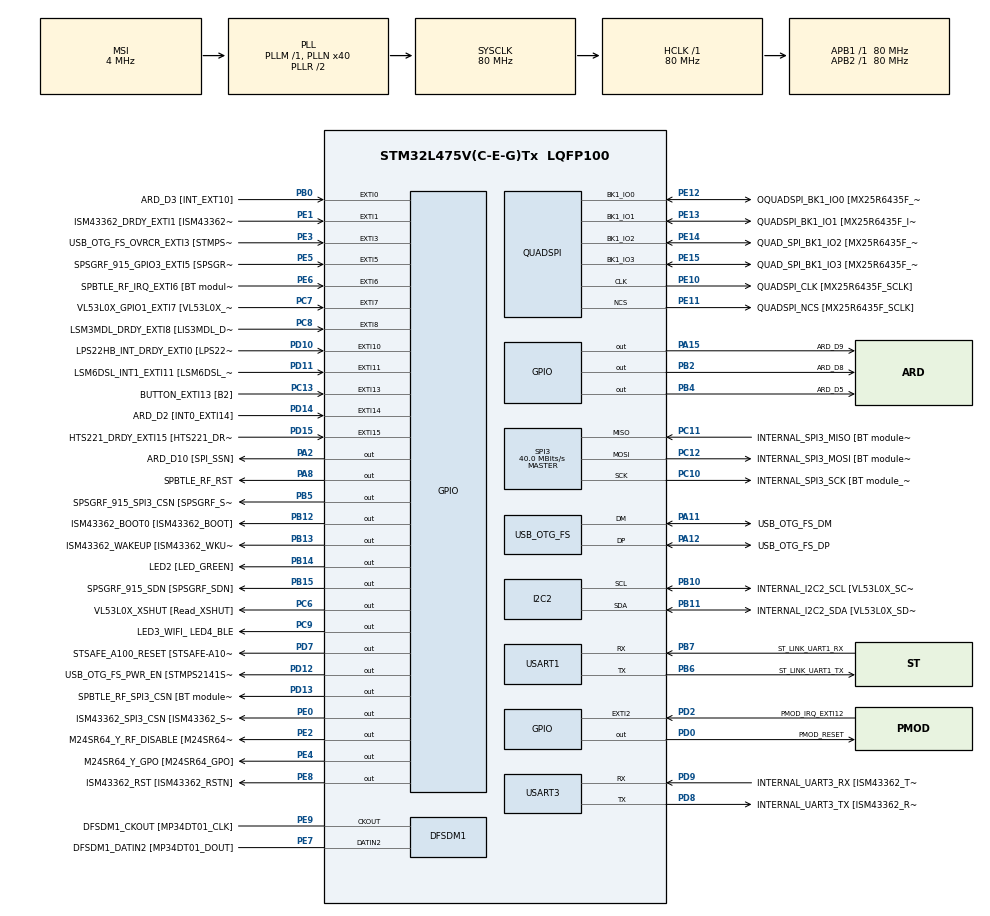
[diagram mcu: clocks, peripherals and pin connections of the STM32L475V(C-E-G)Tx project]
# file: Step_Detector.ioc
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FREERTOS.Tasks01=defaultTask,0,128,StartDefaultTask,Default,NULL,Dynamic,NULL,NULL
FREERTOS.configTOTAL_HEAP_SIZE=15000
FREERTOS.configUSE_NEWLIB_REENTRANT=1
I2C2.Timing=0x10D19CE4
Mcu.Family=STM32L4
Mcu.Name=STM32L475V(C-E-G)Tx
Mcu.Package=LQFP100
NVIC.EXTI15_10_IRQn=true\:5\:0\:false\:false\:true\:true\:true\:true\:true
NVIC.EXTI1_IRQn=true\:5\:0\:false\:false\:true\:true\:true\:true\:true
NVIC.EXTI9_5_IRQn=true\:5\:0\:false\:false\:true\:true\:true\:true\:true
NVIC.PriorityGroup=NVIC_PRIORITYGROUP_4
NVIC.SPI3_IRQn=true\:5\:0\:true\:false\:true\:true\:true\:true\:true
NVIC.TIM1_UP_TIM16_IRQn=true\:15\:0\:false\:false\:true\:false\:false\:true\:true
NVIC.TimeBase=TIM1_UP_TIM16_IRQn
NVIC.TimeBaseIP=TIM1
PA0.GPIO_Label=ARD_D1 [UART4_TX]
PA0.Signal=UART4_TX
PA1.GPIO_Label=ARD_D0 [UART4_RX]
PA1.Signal=UART4_RX
PA10.GPIO_Label=USB_OTG_FS_ID
PA10.Signal=USB_OTG_FS_ID
PA11.GPIO_Label=USB_OTG_FS_DM
PA11.Mode=Device_Only
PA11.Signal=USB_OTG_FS_DM
PA12.GPIO_Label=USB_OTG_FS_DP
PA12.Mode=Device_Only
PA12.Signal=USB_OTG_FS_DP
PA13\ (JTMS-SWDIO).GPIO_Label=SYS_JTMS_SWDIO
PA13\ (JTMS-SWDIO).Mode=Serial_Wire
PA13\ (JTMS-SWDIO).Signal=SYS_JTMS-SWDIO
PA14\ (JTCK-SWCLK).GPIO_Label=SYS_JTCK_SWCLK
PA14\ (JTCK-SWCLK).Mode=Serial_Wire
PA14\ (JTCK-SWCLK).Signal=SYS_JTCK-SWCLK
PA15\ (JTDI).GPIO_Label=ARD_D9
PA15\ (JTDI).Signal=GPIO_Output
PA2.GPIO_Label=ARD_D10 [SPI_SSN]
PA2.Signal=GPIO_Output
PA3.GPIO_Label=ARD_D4
PA3.Signal=S_TIM2_CH4
PA4.GPIO_Label=ARD_D7
PA4.Signal=ADCx_IN9
PA5.GPIO_Label=ARD_D13 [SPI1_SCK]
PA5.Signal=SPI1_SCK
PA6.GPIO_Label=ARD_D12 [SPI1_MISO]
PA6.Signal=SPI1_MISO
PA7.GPIO_Label=ARD_D11 [SPI1_MOSI]
PA7.Signal=SPI1_MOSI
PA8.GPIO_Label=SPBTLE_RF_RST
PA8.Signal=GPIO_Output
PA9.GPIO_Label=USB_OTG_FS_VBUS [STMPS2141STR_OUT]
PA9.Signal=USB_OTG_FS_VBUS
PB0.GPIO_Label=ARD_D3 [INT_EXT10]
PB0.Signal=GPXTI0
PB1.GPIO_Label=ARD_D6 [ADC1_IN6]
PB1.Signal=ADCx_IN16
PB10.GPIO_Label=INTERNAL_I2C2_SCL [VL53L0X_SCL]
PB10.GPIO_Pu=GPIO_PULLUP
PB10.Mode=I2C
PB10.Signal=I2C2_SCL
PB11.GPIO_Label=INTERNAL_I2C2_SDA [VL53L0X_SDA]
PB11.GPIO_Pu=GPIO_PULLUP
PB11.Mode=I2C
PB11.Signal=I2C2_SDA
PB12.GPIO_Label=ISM43362_BOOT0 [ISM43362_BOOT]
PB12.Signal=GPIO_Output
PB13.GPIO_Label=ISM43362_WAKEUP [ISM43362_WKUP]
PB13.Signal=GPIO_Output
PB14.GPIO_Label=LED2 [LED_GREEN]
PB14.Signal=GPIO_Output
PB15.GPIO_Label=SPSGRF_915_SDN [SPSGRF_SDN]
PB15.Signal=GPIO_Output
PB2.GPIO_Label=ARD_D8
PB2.Signal=GPIO_Output
PB3\ (JTDO-TRACESWO).GPIO_Label=SYS_JTD0_SWO
PB3\ (JTDO-TRACESWO).Signal=SYS_JTDO-SWO
PB4\ (NJTRST).GPIO_Label=ARD_D5
PB4\ (NJTRST).Signal=GPIO_Output
PB5.GPIO_Label=SPSGRF_915_SPI3_CSN [SPSGRF_SPI_CS]
PB5.PinState=GPIO_PIN_SET
PB5.Signal=GPIO_Output
PB6.GPIO_Label=ST_LINK_UART1_TX
PB6.Mode=Asynchronous
PB6.Signal=USART1_TX
PB7.GPIO_Label=ST_LINK_UART1_RX
PB7.Mode=Asynchronous
PB7.Signal=USART1_RX
PB8.GPIO_Label=ARD_D15 [I2C1_SCL]
PB8.Signal=I2C1_SCL
PB9.GPIO_Label=ARD_D14 [I2C1_SDA]
PB9.Signal=I2C1_SDA
PC0.GPIO_Label=ARD_A5 [ADC]
PC0.Signal=ADCx_IN1
PC1.GPIO_Label=ARD_A4 [ADC]
PC1.Signal=ADCx_IN2
PC10.GPIO_Label=INTERNAL_SPI3_SCK [BT module_SPI_SCLK] [ISM43362_SCK]
PC10.Mode=Full_Duplex_Master
PC10.Signal=SPI3_SCK
PC11.GPIO_Label=INTERNAL_SPI3_MISO [BT module_SPI_MISO] [ISM43362_MISO]
PC11.Mode=Full_Duplex_Master
PC11.Signal=SPI3_MISO
PC12.GPIO_Label=INTERNAL_SPI3_MOSI [BT module_SPI_MOSI] [ISM43362_MOSI]
PC12.Mode=Full_Duplex_Master
PC12.Signal=SPI3_MOSI
PC13.GPIO_Label=BUTTON_EXTI13 [B2]
PC13.GPIO_ModeDefaultEXTI=GPIO_MODE_IT_FALLING
PC13.Signal=GPXTI13
PC14-OSC32_IN\ (PC14).Mode=LSE-External-Oscillator
PC14-OSC32_IN\ (PC14).Signal=RCC_OSC32_IN
PC15-OSC32_OUT\ (PC15).Mode=LSE-External-Oscillator
PC15-OSC32_OUT\ (PC15).Signal=RCC_OSC32_OUT
PC2.GPIO_Label=ARD_A3 [ADC]
PC2.Signal=ADCx_IN3
PC3.GPIO_Label=ARD_A2 [ADC]
PC3.Signal=ADCx_IN4
PC4.GPIO_Label=ARD_A1 [ADC]
PC4.Signal=ADCx_IN13
PC5.GPIO_Label=ARD_A0 [ADC]
PC5.Signal=ADCx_IN14
PC6.GPIO_Label=VL53L0X_XSHUT [Read_XSHUT]
PC6.Signal=GPIO_Output
PC7.GPIO_Label=VL53L0X_GPIO1_EXTI7 [VL53L0X_GPIO1]
PC7.Signal=GPXTI7
PC8.GPIO_Label=LSM3MDL_DRDY_EXTI8 [LIS3MDL_DRDY]
PC8.Signal=GPXTI8
PC9.GPIO_Label=LED3_WIFI_ LED4_BLE
PC9.Signal=GPIO_Output
PD0.GPIO_Label=PMOD_RESET
PD0.Signal=GPIO_Output
PD1.GPIO_Label=PMOD_SPI2_SCK
PD1.Signal=SPI2_SCK
PD10.GPIO_Label=LPS22HB_INT_DRDY_EXTI0 [LPS22HB_INT_DRDY] 
PD10.Signal=GPXTI10
PD11.GPIO_Label=LSM6DSL_INT1_EXTI11 [LSM6DSL_INT1]
PD11.Signal=GPXTI11
PD12.GPIO_Label=USB_OTG_FS_PWR_EN [STMPS2141STR_EN]
PD12.Signal=GPIO_Output
PD13.GPIO_Label=SPBTLE_RF_SPI3_CSN [BT module_SPI_CS]
PD13.PinState=GPIO_PIN_SET
PD13.Signal=GPIO_Output
PD14.GPIO_Label=ARD_D2 [INT0_EXTI14]
PD14.Signal=GPXTI14
PD15.GPIO_Label=HTS221_DRDY_EXTI15 [HTS221_DRDY]
PD15.Signal=GPXTI15
PD2.GPIO_Label=PMOD_IRQ_EXTI12
PD2.Signal=GPXTI2
PD3.GPIO_Label=PMOD_UART2_CTS
PD3.Signal=USART2_CTS
PD4.GPIO_Label=PMOD_UART2_RTS
PD4.Signal=USART2_RTS
PD5.GPIO_Label=PMOD_UART2_TX
PD5.Signal=USART2_TX
PD6.GPIO_Label=PMOD_UART2_RX
PD6.Signal=USART2_RX
PD7.GPIO_Label=STSAFE_A100_RESET [STSAFE-A100_RESET]
PD7.Signal=GPIO_Output
PD8.GPIO_Label=INTERNAL_UART3_TX [ISM43362_RX]
PD8.Mode=Asynchronous
PD8.Signal=USART3_TX
PD9.GPIO_Label=INTERNAL_UART3_RX [ISM43362_TX]
PD9.Mode=Asynchronous
PD9.Signal=USART3_RX
PE0.GPIO_Label=ISM43362_SPI3_CSN [ISM43362_SSN]
PE0.PinState=GPIO_PIN_SET
PE0.Signal=GPIO_Output
PE1.GPIO_Label=ISM43362_DRDY_EXTI1 [ISM43362_DATARDY]
PE1.Signal=GPXTI1
PE10.GPIO_Label=QUADSPI_CLK [MX25R6435F_SCLK]
PE10.Mode=Single Bank
PE10.Signal=QUADSPI_CLK
PE11.GPIO_Label=QUADSPI_NCS [MX25R6435F_SCLK]
PE11.Mode=Single Bank
PE11.Signal=QUADSPI_NCS
PE12.GPIO_Label=OQUADSPI_BK1_IO0 [MX25R6435F_IO0]
PE12.Mode=Single Bank
PE12.Signal=QUADSPI_BK1_IO0
PE13.GPIO_Label=QUADSPI_BK1_IO1 [MX25R6435F_IO1]
PE13.Mode=Single Bank
PE13.Signal=QUADSPI_BK1_IO1
PE14.GPIO_Label=QUAD_SPI_BK1_IO2 [MX25R6435F_IO2]
PE14.Mode=Single Bank
PE14.Signal=QUADSPI_BK1_IO2
PE15.GPIO_Label=QUAD_SPI_BK1_IO3 [MX25R6435F_IO3]
PE15.Mode=Single Bank
PE15.Signal=QUADSPI_BK1_IO3
PE2.GPIO_Label=M24SR64_Y_RF_DISABLE [M24SR64_RFDIS]
PE2.Signal=GPIO_Output
PE3.GPIO_Label=USB_OTG_FS_OVRCR_EXTI3 [STMPS2141STR_FAULT]
PE3.Signal=GPXTI3
PE4.GPIO_Label=M24SR64_Y_GPO [M24SR64_GPO]
PE4.Signal=GPIO_Output
PE5.GPIO_Label=SPSGRF_915_GPIO3_EXTI5 [SPSGRF_GPIO_3]
PE5.Signal=GPXTI5
PE6.GPIO_Label=SPBTLE_RF_IRQ_EXTI6 [BT module_SPI_IRQ]
PE6.Signal=GPXTI6
PE7.GPIO_Label=DFSDM1_DATIN2 [MP34DT01_DOUT]
PE7.Signal=S_DATAIN2DFSDM1
PE8.GPIO_Label=ISM43362_RST [ISM43362_RSTN]
PE8.Signal=GPIO_Output
PE9.GPIO_Label=DFSDM1_CKOUT [MP34DT01_CLK]
PE9.Signal=S_CKOUTDFSDM1
ProjectManager.HeapSize=0x200
ProjectManager.StackSize=0x400
ProjectManager.TargetToolchain=STM32CubeIDE
QUADSPI.ClockPrescaler=2
QUADSPI.FifoThreshold=4
QUADSPI.FlashSize=23
QUADSPI.SampleShifting=QSPI_SAMPLE_SHIFTING_HALFCYCLE
RCC.ADCFreq_Value=48000000
RCC.AHBFreq_Value=80000000
RCC.APB1Freq_Value=80000000
RCC.APB1TimFreq_Value=80000000
RCC.APB2Freq_Value=80000000
RCC.APB2TimFreq_Value=80000000
RCC.CortexFreq_Value=80000000
RCC.HCLKFreq_Value=80000000
RCC.HSE_VALUE=8000000
RCC.HSI_VALUE=16000000
RCC.MSI_VALUE=4000000
RCC.PLLN=40
RCC.PLLSAI1N=24
RCC.SYSCLKFreq_VALUE=80000000
RCC.SYSCLKSource=RCC_SYSCLKSOURCE_PLLCLK
RCC.USBFreq_Value=48000000
RCC.VCOOutputFreq_Value=160000000
SH.ADCx_IN1.0=ADC1_IN1
SH.ADCx_IN13.0=ADC1_IN13
SH.ADCx_IN14.0=ADC1_IN14
SH.ADCx_IN16.0=ADC1_IN16
SH.ADCx_IN2.0=ADC1_IN2
SH.ADCx_IN3.0=ADC1_IN3
SH.ADCx_IN4.0=ADC1_IN4
SH.ADCx_IN9.0=ADC1_IN9
SH.S_CKOUTDFSDM1.0=DFSDM1_CKOUT,CKOUT
SH.S_CKOUTDFSDM1.1=DFSDM1_CKOUT,PDM_SPI_Input_from_ch12_and_Internal_Clock
SH.S_DATAIN2DFSDM1.0=DFSDM1_DATIN2,PDM_SPI_Input_from_ch12_and_Internal_Clock
SH.S_TIM2_CH4.0=TIM2_CH4
SPI3.BaudRatePrescaler=SPI_BAUDRATEPRESCALER_2
SPI3.CalculateBaudRate=40.0 MBits/s
SPI3.DataSize=SPI_DATASIZE_16BIT
SPI3.Direction=SPI_DIRECTION_2LINES
SPI3.Mode=SPI_MODE_MASTER
SPI3.VirtualType=VM_MASTER
USART1.VirtualMode-Asynchronous=VM_ASYNC
USART3.VirtualMode-Asynchronous=VM_ASYNC
USB_OTG_FS.VirtualMode=Device_Only
VP_FREERTOS_VS_CMSIS_V1.Mode=CMSIS_V1
VP_SYS_VS_tim1.Mode=TIM1
board=B-L475E-IOT01A1

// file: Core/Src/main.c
/* USER CODE BEGIN Header */
/**
  ******************************************************************************
  * @file           : main.c
  * @brief          : Main program body
  ******************************************************************************
  * @attention
  *
  * Copyright (c) 2024 STMicroelectronics.
  * All rights reserved.
  *
  * This software is licensed under terms that can be found in the LICENSE file
  * in the root directory of this software component.
  * If no LICENSE file comes with this software, it is provided AS-IS.
  *
  ******************************************************************************
  */
/* USER CODE END Header */
#include "main.h"
#include "cmsis_os.h"

/* USER CODE BEGIN Includes */
#include <stdio.h>
#include <string.h>
#include "tasks.h"
#include "WiFi/wifi_task.h"
/* USER CODE END Includes */

/* USER CODE BEGIN PTD */
#ifdef __GNUC__
#define PUTCHAR_PROTOTYPE int __io_putchar(int ch)
#define GETCHAR_PROTOTYPE int __io_getchar(void)
/* With GCC, small printf (option LD Linker->Libraries->Small printf
 set to 'Yes') calls __io_putchar() */
#else
#define PUTCHAR_PROTOTYPE int fputc(int ch, FILE *f)
#define GETCHAR_PROTOTYPE int getc(FILE *f)
#endif /* __GNUC__ */

/* USER CODE END PTD */

/* USER CODE BEGIN PD */
#define RXBUFFERSIZE 1
/* USER CODE END PD */

DFSDM_Channel_HandleTypeDef hdfsdm1_channel1;

I2C_HandleTypeDef hi2c2;

QSPI_HandleTypeDef hqspi;

SPI_HandleTypeDef hspi3;

UART_HandleTypeDef huart1;
UART_HandleTypeDef huart3;

PCD_HandleTypeDef hpcd_USB_OTG_FS;

osThreadId defaultTaskHandle;
/* USER CODE BEGIN PV */
uint8_t aRxBuffer[RXBUFFERSIZE + 1];
__IO ITStatus UartReady = RESET;
/* USER CODE END PV */

void SystemClock_Config(void);
static void MX_GPIO_Init(void);
static void MX_DFSDM1_Init(void);
static void MX_I2C2_Init(void);
static void MX_QUADSPI_Init(void);
static void MX_SPI3_Init(void);
static void MX_USART1_UART_Init(void);
static void MX_USART3_UART_Init(void);
static void MX_USB_OTG_FS_PCD_Init(void);
void StartDefaultTask(void const * argument);

/* USER CODE BEGIN PFP */
void UART_IRQCallback(UART_HandleTypeDef *huart);
/* USER CODE END PFP */

int main(void)
{

  /* MCU Configuration--------------------------------------------------------*/

  /* Reset of all peripherals, Initializes the Flash interface and the Systick. */
  HAL_Init();

  /* Configure the system clock */
  SystemClock_Config();

  /* Initialize all configured peripherals */
  MX_GPIO_Init();
  MX_DFSDM1_Init();
  MX_I2C2_Init();
  MX_QUADSPI_Init();
  MX_SPI3_Init();
  MX_USART1_UART_Init();
  MX_USART3_UART_Init();
  MX_USB_OTG_FS_PCD_Init();
  /* USER CODE BEGIN 2 */
  printf("Hello world!!!!!!! \r\n");
  /*----------Start WiFi and Server------------*/
  /* USER CODE END 2 */

  /* Create the thread(s) */
  /* definition and creation of defaultTask */
  osThreadDef(defaultTask, StartDefaultTask, osPriorityNormal, 0, 128);
  defaultTaskHandle = osThreadCreate(osThread(defaultTask), NULL);

  /* USER CODE BEGIN RTOS_THREADS */
  osThreadDef(wifiTask, wifiServerTask, osPriorityNormal, 0, 512);
  osThreadCreate(osThread(wifiTask), NULL);
  printf("Start Tasks\n");

  osThreadDef(measureTask, measureTask, osPriorityNormal, 0, 512);
  osThreadCreate(osThread(measureTask), &hi2c2);
  osThreadDef(KalmanTask, presKalmanTask, osPriorityNormal, 0, 512);
  osThreadCreate(osThread(KalmanTask), &hi2c2);
  osThreadDef(flashSaveTask, saveTask, osPriorityNormal, 0, 512);
  osThreadCreate(osThread(flashSaveTask), NULL);
  osThreadDef(flashReadTask, readTask, osPriorityNormal, 0, 512);
  osThreadCreate(osThread(flashReadTask), NULL);
  printf("Memory aviable: %lu", (uint32_t)xPortGetFreeHeapSize());
  /* USER CODE END RTOS_THREADS */

  /* Start scheduler */
  osKernelStart();

  /* We should never get here as control is now taken by the scheduler */

  /* Infinite loop */
  while (1)
  {

  }
}

void SystemClock_Config(void)
{
  RCC_OscInitTypeDef RCC_OscInitStruct = {0};
  RCC_ClkInitTypeDef RCC_ClkInitStruct = {0};

  /** Configure the main internal regulator output voltage
  */
  if (HAL_PWREx_ControlVoltageScaling(PWR_REGULATOR_VOLTAGE_SCALE1) != HAL_OK)
  {
    Error_Handler();
  }

  /** Configure LSE Drive Capability
  */
  HAL_PWR_EnableBkUpAccess();
  __HAL_RCC_LSEDRIVE_CONFIG(RCC_LSEDRIVE_LOW);

  /** Initializes the RCC Oscillators according to the specified parameters
  * in the RCC_OscInitTypeDef structure.
  */
  RCC_OscInitStruct.OscillatorType = RCC_OSCILLATORTYPE_LSE|RCC_OSCILLATORTYPE_MSI;
  RCC_OscInitStruct.LSEState = RCC_LSE_ON;
  RCC_OscInitStruct.MSIState = RCC_MSI_ON;
  RCC_OscInitStruct.MSICalibrationValue = 0;
  RCC_OscInitStruct.MSIClockRange = RCC_MSIRANGE_6;
  RCC_OscInitStruct.PLL.PLLState = RCC_PLL_ON;
  RCC_OscInitStruct.PLL.PLLSource = RCC_PLLSOURCE_MSI;
  RCC_OscInitStruct.PLL.PLLM = 1;
  RCC_OscInitStruct.PLL.PLLN = 40;
  RCC_OscInitStruct.PLL.PLLP = RCC_PLLP_DIV7;
  RCC_OscInitStruct.PLL.PLLQ = RCC_PLLQ_DIV2;
  RCC_OscInitStruct.PLL.PLLR = RCC_PLLR_DIV2;
  if (HAL_RCC_OscConfig(&RCC_OscInitStruct) != HAL_OK)
  {
    Error_Handler();
  }

  /** Initializes the CPU, AHB and APB buses clocks
  */
  RCC_ClkInitStruct.ClockType = RCC_CLOCKTYPE_HCLK|RCC_CLOCKTYPE_SYSCLK
                              |RCC_CLOCKTYPE_PCLK1|RCC_CLOCKTYPE_PCLK2;
  RCC_ClkInitStruct.SYSCLKSource = RCC_SYSCLKSOURCE_PLLCLK;
  RCC_ClkInitStruct.AHBCLKDivider = RCC_SYSCLK_DIV1;
  RCC_ClkInitStruct.APB1CLKDivider = RCC_HCLK_DIV1;
  RCC_ClkInitStruct.APB2CLKDivider = RCC_HCLK_DIV1;

  if (HAL_RCC_ClockConfig(&RCC_ClkInitStruct, FLASH_LATENCY_4) != HAL_OK)
  {
    Error_Handler();
  }

  /** Enable MSI Auto calibration
  */
  HAL_RCCEx_EnableMSIPLLMode();
}

static void MX_DFSDM1_Init(void)
{

  hdfsdm1_channel1.Instance = DFSDM1_Channel1;
  hdfsdm1_channel1.Init.OutputClock.Activation = ENABLE;
  hdfsdm1_channel1.Init.OutputClock.Selection = DFSDM_CHANNEL_OUTPUT_CLOCK_SYSTEM;
  hdfsdm1_channel1.Init.OutputClock.Divider = 2;
  hdfsdm1_channel1.Init.Input.Multiplexer = DFSDM_CHANNEL_EXTERNAL_INPUTS;
  hdfsdm1_channel1.Init.Input.DataPacking = DFSDM_CHANNEL_STANDARD_MODE;
  hdfsdm1_channel1.Init.Input.Pins = DFSDM_CHANNEL_FOLLOWING_CHANNEL_PINS;
  hdfsdm1_channel1.Init.SerialInterface.Type = DFSDM_CHANNEL_SPI_RISING;
  hdfsdm1_channel1.Init.SerialInterface.SpiClock = DFSDM_CHANNEL_SPI_CLOCK_INTERNAL;
  hdfsdm1_channel1.Init.Awd.FilterOrder = DFSDM_CHANNEL_FASTSINC_ORDER;
  hdfsdm1_channel1.Init.Awd.Oversampling = 1;
  hdfsdm1_channel1.Init.Offset = 0;
  hdfsdm1_channel1.Init.RightBitShift = 0x00;
  if (HAL_DFSDM_ChannelInit(&hdfsdm1_channel1) != HAL_OK)
  {
    Error_Handler();
  }

}

static void MX_I2C2_Init(void)
{

  hi2c2.Instance = I2C2;
  hi2c2.Init.Timing = 0x10D19CE4;
  hi2c2.Init.OwnAddress1 = 0;
  hi2c2.Init.AddressingMode = I2C_ADDRESSINGMODE_7BIT;
  hi2c2.Init.DualAddressMode = I2C_DUALADDRESS_DISABLE;
  hi2c2.Init.OwnAddress2 = 0;
  hi2c2.Init.OwnAddress2Masks = I2C_OA2_NOMASK;
  hi2c2.Init.GeneralCallMode = I2C_GENERALCALL_DISABLE;
  hi2c2.Init.NoStretchMode = I2C_NOSTRETCH_DISABLE;
  if (HAL_I2C_Init(&hi2c2) != HAL_OK)
  {
    Error_Handler();
  }

  /** Configure Analogue filter
  */
  if (HAL_I2CEx_ConfigAnalogFilter(&hi2c2, I2C_ANALOGFILTER_ENABLE) != HAL_OK)
  {
    Error_Handler();
  }

  /** Configure Digital filter
  */
  if (HAL_I2CEx_ConfigDigitalFilter(&hi2c2, 0) != HAL_OK)
  {
    Error_Handler();
  }

}

static void MX_QUADSPI_Init(void)
{

  /* QUADSPI parameter configuration*/
  hqspi.Instance = QUADSPI;
  hqspi.Init.ClockPrescaler = 2;
  hqspi.Init.FifoThreshold = 4;
  hqspi.Init.SampleShifting = QSPI_SAMPLE_SHIFTING_HALFCYCLE;
  hqspi.Init.FlashSize = 23;
  hqspi.Init.ChipSelectHighTime = QSPI_CS_HIGH_TIME_1_CYCLE;
  hqspi.Init.ClockMode = QSPI_CLOCK_MODE_0;
  if (HAL_QSPI_Init(&hqspi) != HAL_OK)
  {
    Error_Handler();
  }

}

static void MX_SPI3_Init(void)
{

  /* SPI3 parameter configuration*/
  hspi3.Instance = SPI3;
  hspi3.Init.Mode = SPI_MODE_MASTER;
  hspi3.Init.Direction = SPI_DIRECTION_2LINES;
  hspi3.Init.DataSize = SPI_DATASIZE_16BIT;
  hspi3.Init.CLKPolarity = SPI_POLARITY_LOW;
  hspi3.Init.CLKPhase = SPI_PHASE_1EDGE;
  hspi3.Init.NSS = SPI_NSS_SOFT;
  hspi3.Init.BaudRatePrescaler = SPI_BAUDRATEPRESCALER_2;
  hspi3.Init.FirstBit = SPI_FIRSTBIT_MSB;
  hspi3.Init.TIMode = SPI_TIMODE_DISABLE;
  hspi3.Init.CRCCalculation = SPI_CRCCALCULATION_DISABLE;
  hspi3.Init.CRCPolynomial = 7;
  hspi3.Init.CRCLength = SPI_CRC_LENGTH_DATASIZE;
  hspi3.Init.NSSPMode = SPI_NSS_PULSE_ENABLE;
  if (HAL_SPI_Init(&hspi3) != HAL_OK)
  {
    Error_Handler();
  }
  /* USER CODE BEGIN SPI3_Init 2 */
  HAL_NVIC_SetPriority((IRQn_Type)SPI3_IRQn, 0, 0);
  HAL_NVIC_EnableIRQ((IRQn_Type)SPI3_IRQn);
  /* USER CODE END SPI3_Init 2 */

}

static void MX_USART1_UART_Init(void)
{

  /* USER CODE BEGIN USART1_Init 1 */

	/* TODO: Set the USART1 parameters. */

  /* USER CODE END USART1_Init 1 */
  huart1.Instance = USART1;
  huart1.Init.BaudRate = 115200;
  huart1.Init.WordLength = UART_WORDLENGTH_8B;
  huart1.Init.StopBits = UART_STOPBITS_1;
  huart1.Init.Parity = UART_PARITY_NONE;
  huart1.Init.Mode = UART_MODE_TX_RX;
  huart1.Init.HwFlowCtl = UART_HWCONTROL_NONE;
  huart1.Init.OverSampling = UART_OVERSAMPLING_16;
  huart1.Init.OneBitSampling = UART_ONE_BIT_SAMPLE_DISABLE;
  huart1.AdvancedInit.AdvFeatureInit = UART_ADVFEATURE_NO_INIT;
  if (HAL_UART_Init(&huart1) != HAL_OK)
  {
    Error_Handler();
  }
  /* USER CODE BEGIN USART1_Init 2 */

	/* TODO: Enable and configure the interrupt for USART1. */

	HAL_NVIC_SetPriority(USART1_IRQn, 0, 0);
	HAL_NVIC_EnableIRQ(USART1_IRQn);

  /* USER CODE END USART1_Init 2 */

}

static void MX_USART3_UART_Init(void)
{

  huart3.Instance = USART3;
  huart3.Init.BaudRate = 115200;
  huart3.Init.WordLength = UART_WORDLENGTH_8B;
  huart3.Init.StopBits = UART_STOPBITS_1;
  huart3.Init.Parity = UART_PARITY_NONE;
  huart3.Init.Mode = UART_MODE_TX_RX;
  huart3.Init.HwFlowCtl = UART_HWCONTROL_NONE;
  huart3.Init.OverSampling = UART_OVERSAMPLING_16;
  huart3.Init.OneBitSampling = UART_ONE_BIT_SAMPLE_DISABLE;
  huart3.AdvancedInit.AdvFeatureInit = UART_ADVFEATURE_NO_INIT;
  if (HAL_UART_Init(&huart3) != HAL_OK)
  {
    Error_Handler();
  }

}

static void MX_USB_OTG_FS_PCD_Init(void)
{

  hpcd_USB_OTG_FS.Instance = USB_OTG_FS;
  hpcd_USB_OTG_FS.Init.dev_endpoints = 6;
  hpcd_USB_OTG_FS.Init.speed = PCD_SPEED_FULL;
  hpcd_USB_OTG_FS.Init.phy_itface = PCD_PHY_EMBEDDED;
  hpcd_USB_OTG_FS.Init.Sof_enable = DISABLE;
  hpcd_USB_OTG_FS.Init.low_power_enable = DISABLE;
  hpcd_USB_OTG_FS.Init.lpm_enable = DISABLE;
  hpcd_USB_OTG_FS.Init.battery_charging_enable = DISABLE;
  hpcd_USB_OTG_FS.Init.use_dedicated_ep1 = DISABLE;
  hpcd_USB_OTG_FS.Init.vbus_sensing_enable = DISABLE;
  if (HAL_PCD_Init(&hpcd_USB_OTG_FS) != HAL_OK)
  {
    Error_Handler();
  }

}

static void MX_GPIO_Init(void)
{
  GPIO_InitTypeDef GPIO_InitStruct = {0};

  /* GPIO Ports Clock Enable */
  __HAL_RCC_GPIOE_CLK_ENABLE();
  __HAL_RCC_GPIOC_CLK_ENABLE();
  __HAL_RCC_GPIOA_CLK_ENABLE();
  __HAL_RCC_GPIOB_CLK_ENABLE();
  __HAL_RCC_GPIOD_CLK_ENABLE();

  /*Configure GPIO pin Output Level */
  HAL_GPIO_WritePin(GPIOE, M24SR64_Y_RF_DISABLE_Pin|M24SR64_Y_GPO_Pin|ISM43362_RST_Pin, GPIO_PIN_RESET);

  /*Configure GPIO pin Output Level */
  HAL_GPIO_WritePin(GPIOA, ARD_D10_Pin|SPBTLE_RF_RST_Pin|ARD_D9_Pin, GPIO_PIN_RESET);

  /*Configure GPIO pin Output Level */
  HAL_GPIO_WritePin(GPIOB, ARD_D8_Pin|ISM43362_BOOT0_Pin|ISM43362_WAKEUP_Pin|LED2_Pin
                          |SPSGRF_915_SDN_Pin|ARD_D5_Pin, GPIO_PIN_RESET);

  /*Configure GPIO pin Output Level */
  HAL_GPIO_WritePin(GPIOD, USB_OTG_FS_PWR_EN_Pin|PMOD_RESET_Pin|STSAFE_A100_RESET_Pin, GPIO_PIN_RESET);

  /*Configure GPIO pin Output Level */
  HAL_GPIO_WritePin(SPBTLE_RF_SPI3_CSN_GPIO_Port, SPBTLE_RF_SPI3_CSN_Pin, GPIO_PIN_SET);

  /*Configure GPIO pin Output Level */
  HAL_GPIO_WritePin(GPIOC, VL53L0X_XSHUT_Pin|LED3_WIFI__LED4_BLE_Pin, GPIO_PIN_RESET);

  /*Configure GPIO pin Output Level */
  HAL_GPIO_WritePin(SPSGRF_915_SPI3_CSN_GPIO_Port, SPSGRF_915_SPI3_CSN_Pin, GPIO_PIN_SET);

  /*Configure GPIO pin Output Level */
  HAL_GPIO_WritePin(ISM43362_SPI3_CSN_GPIO_Port, ISM43362_SPI3_CSN_Pin, GPIO_PIN_SET);

  /*Configure GPIO pins : M24SR64_Y_RF_DISABLE_Pin M24SR64_Y_GPO_Pin ISM43362_RST_Pin ISM43362_SPI3_CSN_Pin */
  GPIO_InitStruct.Pin = M24SR64_Y_RF_DISABLE_Pin|M24SR64_Y_GPO_Pin|ISM43362_RST_Pin|ISM43362_SPI3_CSN_Pin;
  GPIO_InitStruct.Mode = GPIO_MODE_OUTPUT_PP;
  GPIO_InitStruct.Pull = GPIO_NOPULL;
  GPIO_InitStruct.Speed = GPIO_SPEED_FREQ_LOW;
  HAL_GPIO_Init(GPIOE, &GPIO_InitStruct);

  /*Configure GPIO pins : USB_OTG_FS_OVRCR_EXTI3_Pin SPSGRF_915_GPIO3_EXTI5_Pin SPBTLE_RF_IRQ_EXTI6_Pin ISM43362_DRDY_EXTI1_Pin */
  GPIO_InitStruct.Pin = USB_OTG_FS_OVRCR_EXTI3_Pin|SPSGRF_915_GPIO3_EXTI5_Pin|SPBTLE_RF_IRQ_EXTI6_Pin|ISM43362_DRDY_EXTI1_Pin;
  GPIO_InitStruct.Mode = GPIO_MODE_IT_RISING;
  GPIO_InitStruct.Pull = GPIO_NOPULL;
  HAL_GPIO_Init(GPIOE, &GPIO_InitStruct);

  /*Configure GPIO pin : BUTTON_EXTI13_Pin */
  GPIO_InitStruct.Pin = BUTTON_EXTI13_Pin;
  GPIO_InitStruct.Mode = GPIO_MODE_IT_FALLING;
  GPIO_InitStruct.Pull = GPIO_NOPULL;
  HAL_GPIO_Init(BUTTON_EXTI13_GPIO_Port, &GPIO_InitStruct);

  /*Configure GPIO pins : ARD_A5_Pin ARD_A4_Pin ARD_A3_Pin ARD_A2_Pin
                           ARD_A1_Pin ARD_A0_Pin */
  GPIO_InitStruct.Pin = ARD_A5_Pin|ARD_A4_Pin|ARD_A3_Pin|ARD_A2_Pin
                          |ARD_A1_Pin|ARD_A0_Pin;
  GPIO_InitStruct.Mode = GPIO_MODE_ANALOG_ADC_CONTROL;
  GPIO_InitStruct.Pull = GPIO_NOPULL;
  HAL_GPIO_Init(GPIOC, &GPIO_InitStruct);

  /*Configure GPIO pins : ARD_D1_Pin ARD_D0_Pin */
  GPIO_InitStruct.Pin = ARD_D1_Pin|ARD_D0_Pin;
  GPIO_InitStruct.Mode = GPIO_MODE_AF_PP;
  GPIO_InitStruct.Pull = GPIO_NOPULL;
  GPIO_InitStruct.Speed = GPIO_SPEED_FREQ_VERY_HIGH;
  GPIO_InitStruct.Alternate = GPIO_AF8_UART4;
  HAL_GPIO_Init(GPIOA, &GPIO_InitStruct);

  /*Configure GPIO pins : ARD_D10_Pin SPBTLE_RF_RST_Pin ARD_D9_Pin */
  GPIO_InitStruct.Pin = ARD_D10_Pin|SPBTLE_RF_RST_Pin|ARD_D9_Pin;
  GPIO_InitStruct.Mode = GPIO_MODE_OUTPUT_PP;
  GPIO_InitStruct.Pull = GPIO_NOPULL;
  GPIO_InitStruct.Speed = GPIO_SPEED_FREQ_LOW;
  HAL_GPIO_Init(GPIOA, &GPIO_InitStruct);

  /*Configure GPIO pin : ARD_D4_Pin */
  GPIO_InitStruct.Pin = ARD_D4_Pin;
  GPIO_InitStruct.Mode = GPIO_MODE_AF_PP;
  GPIO_InitStruct.Pull = GPIO_NOPULL;
  GPIO_InitStruct.Speed = GPIO_SPEED_FREQ_LOW;
  GPIO_InitStruct.Alternate = GPIO_AF1_TIM2;
  HAL_GPIO_Init(ARD_D4_GPIO_Port, &GPIO_InitStruct);

  /*Configure GPIO pin : ARD_D7_Pin */
  GPIO_InitStruct.Pin = ARD_D7_Pin;
  GPIO_InitStruct.Mode = GPIO_MODE_ANALOG_ADC_CONTROL;
  GPIO_InitStruct.Pull = GPIO_NOPULL;
  HAL_GPIO_Init(ARD_D7_GPIO_Port, &GPIO_InitStruct);

  /*Configure GPIO pins : ARD_D13_Pin ARD_D12_Pin ARD_D11_Pin */
  GPIO_InitStruct.Pin = ARD_D13_Pin|ARD_D12_Pin|ARD_D11_Pin;
  GPIO_InitStruct.Mode = GPIO_MODE_AF_PP;
  GPIO_InitStruct.Pull = GPIO_NOPULL;
  GPIO_InitStruct.Speed = GPIO_SPEED_FREQ_VERY_HIGH;
  GPIO_InitStruct.Alternate = GPIO_AF5_SPI1;
  HAL_GPIO_Init(GPIOA, &GPIO_InitStruct);

  /*Configure GPIO pin : ARD_D3_Pin */
  GPIO_InitStruct.Pin = ARD_D3_Pin;
  GPIO_InitStruct.Mode = GPIO_MODE_IT_RISING;
  GPIO_InitStruct.Pull = GPIO_NOPULL;
  HAL_GPIO_Init(ARD_D3_GPIO_Port, &GPIO_InitStruct);

  /*Configure GPIO pin : ARD_D6_Pin */
  GPIO_InitStruct.Pin = ARD_D6_Pin;
  GPIO_InitStruct.Mode = GPIO_MODE_ANALOG_ADC_CONTROL;
  GPIO_InitStruct.Pull = GPIO_NOPULL;
  HAL_GPIO_Init(ARD_D6_GPIO_Port, &GPIO_InitStruct);

  /*Configure GPIO pins : ARD_D8_Pin ISM43362_BOOT0_Pin ISM43362_WAKEUP_Pin LED2_Pin
                           SPSGRF_915_SDN_Pin ARD_D5_Pin SPSGRF_915_SPI3_CSN_Pin */
  GPIO_InitStruct.Pin = ARD_D8_Pin|ISM43362_BOOT0_Pin|ISM43362_WAKEUP_Pin|LED2_Pin
                          |SPSGRF_915_SDN_Pin|ARD_D5_Pin|SPSGRF_915_SPI3_CSN_Pin;
  GPIO_InitStruct.Mode = GPIO_MODE_OUTPUT_PP;
  GPIO_InitStruct.Pull = GPIO_NOPULL;
  GPIO_InitStruct.Speed = GPIO_SPEED_FREQ_LOW;
  HAL_GPIO_Init(GPIOB, &GPIO_InitStruct);

  /*Configure GPIO pins : LPS22HB_INT_DRDY_EXTI0_Pin LSM6DSL_INT1_EXTI11_Pin ARD_D2_Pin HTS221_DRDY_EXTI15_Pin
                           PMOD_IRQ_EXTI12_Pin */
  GPIO_InitStruct.Pin = LPS22HB_INT_DRDY_EXTI0_Pin|LSM6DSL_INT1_EXTI11_Pin|ARD_D2_Pin|HTS221_DRDY_EXTI15_Pin
                          |PMOD_IRQ_EXTI12_Pin;
  GPIO_InitStruct.Mode = GPIO_MODE_IT_RISING;
  GPIO_InitStruct.Pull = GPIO_NOPULL;
  HAL_GPIO_Init(GPIOD, &GPIO_InitStruct);

  /*Configure GPIO pins : USB_OTG_FS_PWR_EN_Pin SPBTLE_RF_SPI3_CSN_Pin PMOD_RESET_Pin STSAFE_A100_RESET_Pin */
  GPIO_InitStruct.Pin = USB_OTG_FS_PWR_EN_Pin|SPBTLE_RF_SPI3_CSN_Pin|PMOD_RESET_Pin|STSAFE_A100_RESET_Pin;
  GPIO_InitStruct.Mode = GPIO_MODE_OUTPUT_PP;
  GPIO_InitStruct.Pull = GPIO_NOPULL;
  GPIO_InitStruct.Speed = GPIO_SPEED_FREQ_LOW;
  HAL_GPIO_Init(GPIOD, &GPIO_InitStruct);

  /*Configure GPIO pins : VL53L0X_XSHUT_Pin LED3_WIFI__LED4_BLE_Pin */
  GPIO_InitStruct.Pin = VL53L0X_XSHUT_Pin|LED3_WIFI__LED4_BLE_Pin;
  GPIO_InitStruct.Mode = GPIO_MODE_OUTPUT_PP;
  GPIO_InitStruct.Pull = GPIO_NOPULL;
  GPIO_InitStruct.Speed = GPIO_SPEED_FREQ_LOW;
  HAL_GPIO_Init(GPIOC, &GPIO_InitStruct);

  /*Configure GPIO pins : VL53L0X_GPIO1_EXTI7_Pin LSM3MDL_DRDY_EXTI8_Pin */
  GPIO_InitStruct.Pin = VL53L0X_GPIO1_EXTI7_Pin|LSM3MDL_DRDY_EXTI8_Pin;
  GPIO_InitStruct.Mode = GPIO_MODE_IT_RISING;
  GPIO_InitStruct.Pull = GPIO_NOPULL;
  HAL_GPIO_Init(GPIOC, &GPIO_InitStruct);

  /*Configure GPIO pin : PMOD_SPI2_SCK_Pin */
  GPIO_InitStruct.Pin = PMOD_SPI2_SCK_Pin;
  GPIO_InitStruct.Mode = GPIO_MODE_AF_PP;
  GPIO_InitStruct.Pull = GPIO_NOPULL;
  GPIO_InitStruct.Speed = GPIO_SPEED_FREQ_VERY_HIGH;
  GPIO_InitStruct.Alternate = GPIO_AF5_SPI2;
  HAL_GPIO_Init(PMOD_SPI2_SCK_GPIO_Port, &GPIO_InitStruct);

  /*Configure GPIO pins : PMOD_UART2_CTS_Pin PMOD_UART2_RTS_Pin PMOD_UART2_TX_Pin PMOD_UART2_RX_Pin */
  GPIO_InitStruct.Pin = PMOD_UART2_CTS_Pin|PMOD_UART2_RTS_Pin|PMOD_UART2_TX_Pin|PMOD_UART2_RX_Pin;
  GPIO_InitStruct.Mode = GPIO_MODE_AF_PP;
  GPIO_InitStruct.Pull = GPIO_NOPULL;
  GPIO_InitStruct.Speed = GPIO_SPEED_FREQ_VERY_HIGH;
  GPIO_InitStruct.Alternate = GPIO_AF7_USART2;
  HAL_GPIO_Init(GPIOD, &GPIO_InitStruct);

  /*Configure GPIO pins : ARD_D15_Pin ARD_D14_Pin */
  GPIO_InitStruct.Pin = ARD_D15_Pin|ARD_D14_Pin;
  GPIO_InitStruct.Mode = GPIO_MODE_AF_OD;
  GPIO_InitStruct.Pull = GPIO_NOPULL;
  GPIO_InitStruct.Speed = GPIO_SPEED_FREQ_VERY_HIGH;
  GPIO_InitStruct.Alternate = GPIO_AF4_I2C1;
  HAL_GPIO_Init(GPIOB, &GPIO_InitStruct);

  /* EXTI interrupt init*/
  HAL_NVIC_SetPriority(EXTI1_IRQn, 5, 0);
  HAL_NVIC_EnableIRQ(EXTI1_IRQn);

  HAL_NVIC_SetPriority(EXTI9_5_IRQn, 5, 0);
  HAL_NVIC_EnableIRQ(EXTI9_5_IRQn);

  HAL_NVIC_SetPriority(EXTI15_10_IRQn, 5, 0);
  HAL_NVIC_EnableIRQ(EXTI15_10_IRQn);

}

/* USER CODE BEGIN 4 */

SPI_HandleTypeDef* GetSPI3()
{
	return &hspi3;
}

PUTCHAR_PROTOTYPE {
	/* Place your implementation of fputc here */
	/* e.g. write a character to UART */
	HAL_UART_Transmit(&huart1, (uint8_t*) &ch, 1, HAL_MAX_DELAY);

	return ch;
}
GETCHAR_PROTOTYPE {
	/* Place your implementation of getc here */
	/* e.g. read and then write the same character
	 * 		to UART again to provide feedback*/
	int ch = 0;
	HAL_UART_Receive(&huart1, (uint8_t*) &ch, 1, HAL_MAX_DELAY);
	HAL_UART_Transmit(&huart1, (uint8_t*) &ch, 1, HAL_MAX_DELAY);
	return ch;
}

/**
 * @brief  Rx Transfer completed callback
 * @param  UartHandle: UART handle
 * @note   This example shows a simple way to report end of DMA Rx transfer, and
 *         you can add your own implementation.
 * @retval None
 */
void HAL_UART_RxCpltCallback(UART_HandleTypeDef *UartHandle) {
	/* Set transmission flag: transfer complete */
	UartReady = SET;

}

/**
  * @brief  EXTI line detection callback.
  * @param  GPIO_Pin: Specifies the port pin connected to corresponding EXTI line.
  * @retval None
  */
void HAL_GPIO_EXTI_Callback(uint16_t GPIO_Pin)
{
  switch (GPIO_Pin)
  {
    case (GPIO_PIN_1):
    {
      SPI_WIFI_ISR();
      break;
    }
    default:
    {
      break;
    }
  }
}
/**
 * @brief  UART error callbacks
 * @param  UartHandle: UART handle
 * @note   This example shows a simple way to report transfer error, and you can
 *         add your own implementation.
 * @retval None
 */
void HAL_UART_ErrorCallback(UART_HandleTypeDef *UartHandle) {
	Error_Handler();
}
/* USER CODE END 4 */

void StartDefaultTask(void const * argument)
{
  for(;;)
  {
    osDelay(1);
  }
}

void HAL_TIM_PeriodElapsedCallback(TIM_HandleTypeDef *htim)
{
  if (htim->Instance == TIM1) {
    HAL_IncTick();
  }
}

void Error_Handler(void)
{
  __disable_irq();
  while (1)
  {
  }
}
